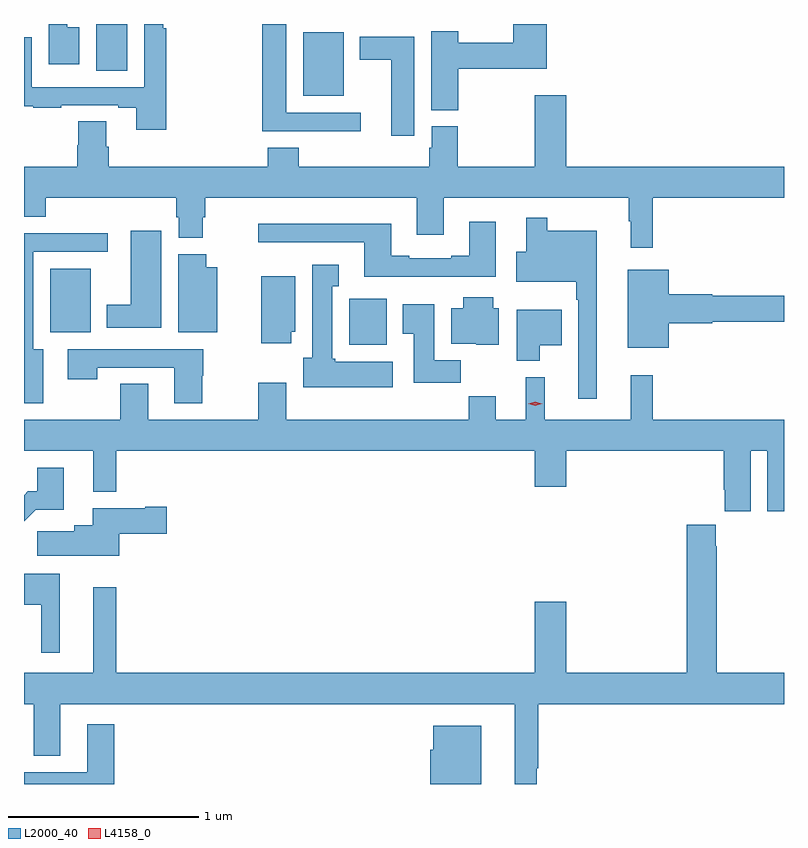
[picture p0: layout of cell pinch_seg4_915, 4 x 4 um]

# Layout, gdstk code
import gdstk
lib = gdstk.Library(unit=1e-6, precision=1e-09)
def R(c, l, rs):  # rectangles x0, y0, x1, y1
    for r in rs: c.add(gdstk.rectangle(r[:2], r[2:], *l))
def P(c, l, *ps):  # polygons
    for p in ps: c.add(gdstk.Polygon(p, *l))
L2000_40 = (2000, 40)
L4158_0 = (4158, 0)

pinch_seg4_915 = lib.new_cell('pinch_seg4_915')
R(pinch_seg4_915, L2000_40, [(667.526,798.71,667.723,798.952), (665.954,798.776,666.166,799.111), (667.286,800.021,667.498,800.356), (666.194,800.152,666.358,800.399)])
P(pinch_seg4_915, L2000_40, [(668.1,800.164),(668.567,800.164),(668.567,800.399),(668.389,800.399),(668.389,800.3),(668.1,800.3),(668.1,800.36),(667.958,800.36),(667.958,799.945),(668.1,799.945)],
  [(666.563,800.376),(666.548,800.376),(666.548,800.399),(666.447,800.399),(666.447,800.067),(665.856,800.067),(665.856,800.329),(665.815,800.329),(665.815,799.965),(665.863,799.965),(665.863,799.959),(666.011,799.959),(666.011,799.971),(666.311,799.971),(666.311,799.959),(666.407,799.959),(666.407,799.842),(666.563,799.842)],
  [(666.106,800.383),(666.043,800.383),(666.043,800.399),(665.945,800.399),(665.945,800.187),(666.106,800.187)],
  [(667.588,799.932),(667.195,799.932),(667.195,800.399),(667.07,800.399),(667.07,799.835),(667.588,799.835)],
  [(667.87,800.332),(667.583,800.332),(667.583,800.21),(667.748,800.21),(667.748,799.812),(667.87,799.812)],
  [(669.125,799.484),(669.815,799.484),(669.815,799.648),(668.668,799.648),(668.668,800.023),(668.504,800.023),(668.504,799.648),(668.097,799.648),(668.097,799.86),(667.961,799.86),(667.961,799.749),(667.949,799.749),(667.949,799.648),(667.262,799.648),(667.262,799.747),(667.097,799.747),(667.097,799.648),(666.26,799.648),(666.26,799.754),(666.247,799.754),(666.247,799.886),(666.1,799.886),(666.1,799.761),(666.095,799.761),(666.095,799.648),(665.815,799.648),(665.815,799.385),(665.93,799.385),(665.93,799.484),(666.617,799.484),(666.617,799.383),(666.629,799.383),(666.629,799.273),(666.757,799.273),(666.757,799.383),(666.77,799.383),(666.77,799.484),(667.883,799.484),(667.883,799.29),(668.023,799.29),(668.023,799.484),(668.997,799.484),(668.997,799.361),(669.008,799.361),(669.008,799.221),(669.125,799.221)],
  [(668.83,799.312),(668.569,799.312),(668.569,799.378),(668.459,799.378),(668.459,799.201),(668.406,799.201),(668.406,799.043),(668.721,799.043),(668.721,798.947),(668.733,798.947),(668.733,798.426),(668.83,798.426)],
  [(668.299,799.357),(668.159,799.357),(668.159,799.18),(668.063,799.18),(668.063,799.167),(667.843,799.167),(667.843,799.18),(667.747,799.18),(667.747,799.348),(667.047,799.348),(667.047,799.251),(667.607,799.251),(667.607,799.07),(668.299,799.07)],
  [(666.538,799.312),(666.377,799.312),(666.377,798.922),(666.251,798.922),(666.251,798.8),(666.538,798.8)],
  [(665.917,798.688),(665.863,798.688),(665.863,799.2),(666.256,799.2),(666.256,799.298),(665.815,799.298),(665.815,798.402),(665.917,798.402)],
  [(666.832,799.12),(666.773,799.12),(666.773,799.188),(666.626,799.188),(666.626,798.776),(666.832,798.776)],
  [(667.756,798.622),(667.452,798.622),(667.452,798.636),(667.438,798.636),(667.438,799.019),(667.471,799.019),(667.471,799.132),(667.331,799.132),(667.331,798.642),(667.286,798.642),(667.286,798.488),(667.756,798.488)],
  [(669.208,798.824),(669.438,798.824),(669.438,798.832),(669.815,798.832),(669.815,798.968),(669.438,798.968),(669.438,798.976),(669.208,798.976),(669.208,799.105),(668.993,799.105),(668.993,798.695),(669.208,798.695)],
  [(667.222,798.78),(667.243,798.78),(667.243,799.072),(667.064,799.072),(667.064,798.72),(667.222,798.72)],
  [(668.314,798.904),(668.284,798.904),(668.284,798.961),(668.126,798.961),(668.126,798.904),(668.063,798.904),(668.063,798.716),(668.196,798.716),(668.196,798.71),(668.314,798.71)],
  [(668.114,798.628),(667.975,798.628),(667.975,798.925),(667.808,798.925),(667.808,798.769),(667.865,798.769),(667.865,798.51),(668.114,798.51)],
  [(668.53,798.707),(668.644,798.707),(668.644,798.895),(668.408,798.895),(668.408,798.626),(668.53,798.626)],
  [(666.753,798.549),(666.758,798.549),(666.758,798.687),(666.045,798.687),(666.045,798.528),(666.201,798.528),(666.201,798.591),(666.605,798.591),(666.605,798.402),(666.753,798.402)],
  [(669.125,798.55),(669.008,798.55),(669.008,798.316),(668.555,798.316),(668.555,798.541),(668.456,798.541),(668.456,798.316),(668.299,798.316),(668.299,798.44),(668.155,798.44),(668.155,798.316),(667.195,798.316),(667.195,798.511),(667.048,798.511),(667.048,798.316),(666.469,798.316),(666.469,798.506),(666.322,798.506),(666.322,798.316),(665.815,798.316),(665.815,798.152),(666.179,798.152),(666.179,797.936),(666.301,797.936),(666.301,798.152),(668.504,798.152),(668.504,797.964),(668.668,797.964),(668.668,798.152),(669.497,798.152),(669.497,797.947),(669.503,797.947),(669.503,797.835),(669.64,797.835),(669.64,798.152),(669.728,798.152),(669.728,797.835),(669.815,797.835),(669.815,798.316),(669.125,798.316)],
  [(665.876,797.843),(666.025,797.843),(666.025,798.064),(665.885,798.064),(665.885,797.941),(665.836,797.941),(665.815,797.92),(665.815,797.782)],
  [(666.316,797.717),(666.565,797.717),(666.565,797.859),(666.452,797.859),(666.452,797.851),(666.176,797.851),(666.176,797.761),(666.08,797.761),(666.08,797.729),(665.886,797.729),(665.886,797.6),(666.316,797.6)],
  [(668.514,796.483),(668.521,796.483),(668.521,796.82),(669.815,796.82),(669.815,796.984),(669.462,796.984),(669.462,797.651),(669.457,797.651),(669.457,797.764),(669.302,797.764),(669.302,796.984),(668.668,796.984),(668.668,797.359),(668.504,797.359),(668.504,796.984),(666.301,796.984),(666.301,797.434),(666.179,797.434),(666.179,796.984),(665.815,796.984),(665.815,796.82),(665.867,796.82),(665.867,796.547),(666.007,796.547),(666.007,796.82),(668.399,796.82),(668.399,796.399),(668.514,796.399)],
  [(666.004,797.506),(665.815,797.506),(665.815,797.342),(665.906,797.342),(665.906,797.091),(666.004,797.091)],
  [(666.29,796.714),(666.149,796.714),(666.149,796.462),(665.815,796.462),(665.815,796.399),(666.29,796.399)],
  [(668.221,796.705),(667.97,796.705),(667.97,796.578),(667.952,796.578),(667.952,796.399),(668.221,796.399)])
P(pinch_seg4_915, L4158_0, [(668.506,798.39),(668.47,798.4),(668.47,798.4),(668.47,798.4),(668.506,798.41),(668.541,798.4),(668.542,798.4),(668.541,798.4)])

lib.write_gds('pinch_seg4_915.gds')
